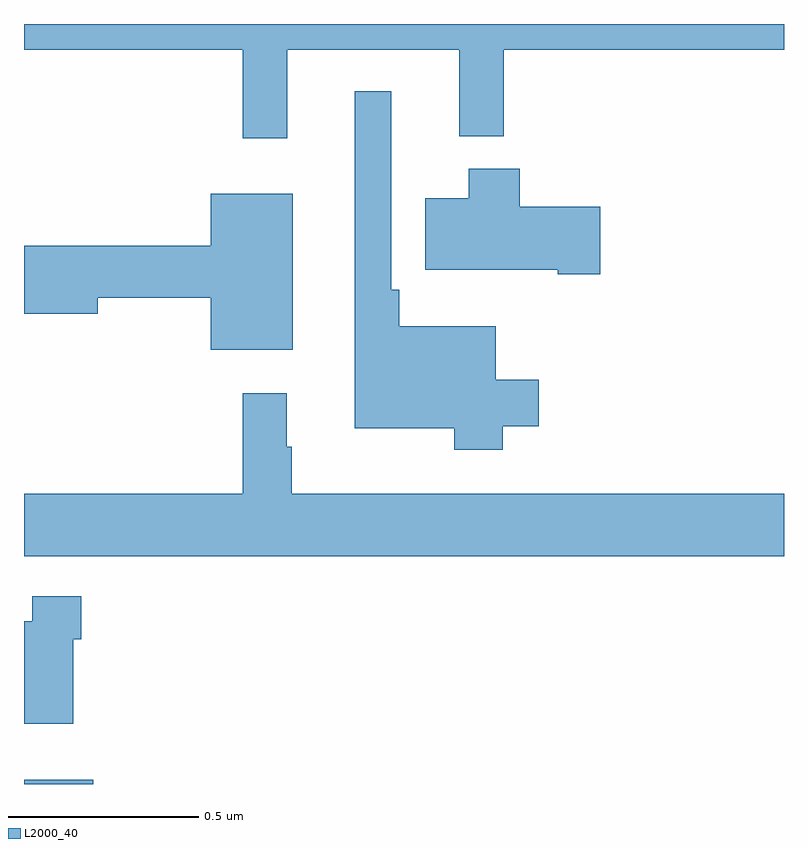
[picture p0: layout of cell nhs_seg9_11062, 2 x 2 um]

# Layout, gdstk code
import gdstk
lib = gdstk.Library(unit=1e-6, precision=1e-09)
def R(c, l, rs):  # rectangles x0, y0, x1, y1
    for r in rs: c.add(gdstk.rectangle(r[:2], r[2:], *l))
def P(c, l, *ps):  # polygons
    for p in ps: c.add(gdstk.Polygon(p, *l))
L2000_40 = (2000, 40)

nhs_seg9_11062 = lib.new_cell('nhs_seg9_11062')
R(nhs_seg9_11062, L2000_40, [(251,1182.5,251.182,1182.511)])
P(nhs_seg9_11062, L2000_40, [(251.693,1184.432),(252.146,1184.432),(252.146,1184.204),(252.263,1184.204),(252.263,1184.432),(253,1184.432),(253,1184.5),(251,1184.5),(251,1184.432),(251.575,1184.432),(251.575,1184.199),(251.693,1184.199)],
  [(252.26,1183.442),(252.355,1183.442),(252.355,1183.564),(252.241,1183.564),(252.241,1183.705),(251.987,1183.705),(251.987,1183.801),(251.967,1183.801),(251.967,1184.323),(251.87,1184.323),(251.87,1183.436),(252.132,1183.436),(252.132,1183.379),(252.26,1183.379)],
  [(252.517,1184.019),(252.305,1184.019),(252.305,1184.119),(252.17,1184.119),(252.17,1184.041),(252.056,1184.041),(252.056,1183.853),(252.404,1183.853),(252.404,1183.841),(252.517,1183.841)],
  [(251.707,1184.053),(251.492,1184.053),(251.492,1183.916),(251,1183.916),(251,1183.738),(251.194,1183.738),(251.194,1183.78),(251.492,1183.78),(251.492,1183.643),(251.707,1183.643)],
  [(253,1183.264),(251.704,1183.264),(251.704,1183.388),(251.692,1183.388),(251.692,1183.528),(251.575,1183.528),(251.575,1183.264),(251,1183.264),(251,1183.1),(253,1183.1)],
  [(251.13,1182.881),(251.15,1182.881),(251.15,1182.994),(251.022,1182.994),(251.022,1182.928),(251,1182.928),(251,1182.659),(251.13,1182.659)])

lib.write_gds('nhs_seg9_11062.gds')
